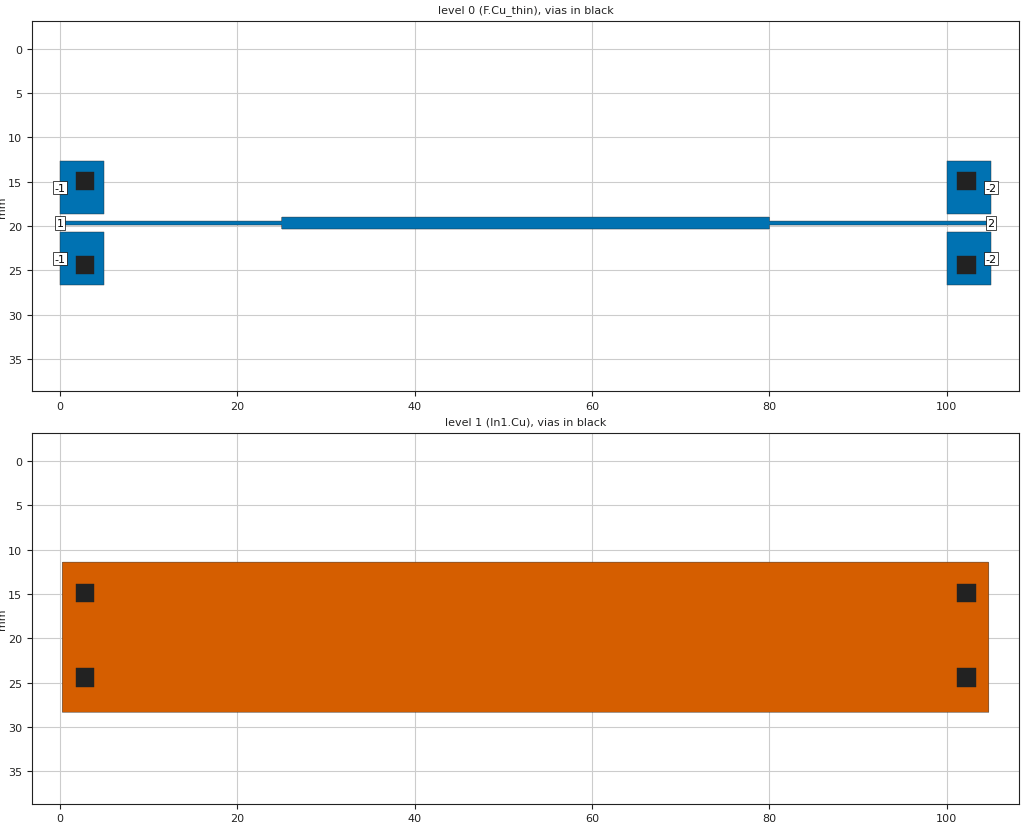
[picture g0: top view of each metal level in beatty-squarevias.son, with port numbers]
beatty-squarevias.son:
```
FTYP SONPROJ 19 ! Sonnet Project File
VER 18.56
HEADER
LIC antikernel2.1.51813
DAT 12/21/2022 18:12:39
BUILT_BY_CREATED xgeom 18.56 12/18/2022 19:56:31
BUILT_BY_SAVED sonnet 18.56
MDATE 12/21/2022 18:12:39
HDATE 12/21/2022 18:12:39
ANN Created by dxfgeo, Sonnet Software Inc.
END HEADER
DIM
ANG DEG
CAP PF
CON /OH
FREQ GHZ
IND NH
LNG MM
RES OH
END DIM
CONTROL
VARSWP
OPTIONS  -dj
SPEED 1
CACHE_ABS 2
Q_ACC N
END CONTROL
GEO
DRP1 LEFT NONE 5
DRP1 RIGHT NONE 5
TMET "Free Space" 0 FREESPACE 376.7303136 0 0 0
BMET "Free Space" 0 FREESPACE 376.7303136 0 0 0
MET "Copper_1oz+plated_thick_up" 1 TMM 58000000 0.5 0.0432 2
MET "Copper_1oz+plated_thin" 4 NOR 58000000 0.5 0.0432 
MET "Copper_0.5oz_thin" 2 NOR 58000000 0.5 0.0175 
MET "Copper_1oz+plated_thick_down" 3 TMM 58000000 0.5 0.0432 2 CDVY TDWN
BOX 4 105 35.5 8400 2840 20 0
      10 1 1 0 0 0 0 "Air"
      0.2021 3.61 1 0.0092 0 0 0 "Isola_FR408HR"
      1.1938 3.61 1 0.0092 0 0 0 "Isola_FR408HR"
      0.2021 3.61 1 0.0092 0 0 0 "Isola_FR408HR"
      10 1 1 0 0 0 0 "Air"
TECHLAY VIA Via1 L3D0 -7 -65534 CAD Via1 drawing 
VIA POLYGON
0 0 -1 N 116 1 1 100 100 0 0 0 Y
TOLEVEL 3 RING NOCOVERS
END
END
TECHLAY METAL F.Cu_thin L1D0 -2 -65534 CAD F.Cu_thin drawing 
0 0 1 N 72 1 1 100 100 0 0 0 Y
END
END
TECHLAY METAL F.Cu_thick <UNSPECIFIED> -1 -65534 CAD F.Cu drawing 
0 0 0 N 80 1 1 100 100 0 0 0 Y
END
END
TECHLAY METAL In1.Cu L2D0 -3 -65534 CAD In1.Cu drawing 
1 0 2 N 83 1 1 100 100 0 0 0 Y
END
END
TECHLAY METAL In2.Cu <UNSPECIFIED> -4 -65534 CAD In2.Cu drawing 
2 0 2 N 86 1 1 100 100 0 0 0 Y
END
END
TECHLAY METAL B.Cu_thin <UNSPECIFIED> -6 -65534 CAD B.Cu_thin drawing 
3 0 1 N 89 1 1 100 100 0 0 0 Y
END
END
TECHLAY METAL B.Cu_thick <UNSPECIFIED> -5 -65534 CAD B.Cu drawing 
3 0 3 N 91 1 1 100 100 0 0 0 Y
END
END
LORGN 0 35.5 U 
POR1 BOX
POLY 7 1
2
-2 50 0 0 0 105 23.65 
POR1 BOX
POLY 9 1
0
-1 50 0 0 0 0 15.65 
POR1 BOX
POLY 10 1
2
-2 50 0 0 0 105 15.65 
POR1 BOX
POLY 8 1
4
1 50 0 0 0 0 19.65 
POR1 BOX
POLY 8 1
14
2 50 0 0 0 105 19.65 
POR1 BOX
POLY 6 1
0
-1 50 0 0 0 0 23.65 
NUM 10
VIA POLYGON
0 5 -1 N 124 1 1 100 100 0 0 0 Y
TOLEVEL 3 RING NOCOVERS
TLAYNAM Via1 INH
1.75 13.85
3.85 13.85
3.85 15.95
1.75 15.95
1.75 13.85
END
VIA POLYGON
0 5 -1 N 126 1 1 100 100 0 0 0 Y
TOLEVEL 3 RING NOCOVERS
TLAYNAM Via1 INH
1.75 23.35
3.85 23.35
3.85 25.45
1.75 25.45
1.75 23.35
END
VIA POLYGON
0 5 -1 N 128 1 1 100 100 0 0 0 Y
TOLEVEL 3 RING NOCOVERS
TLAYNAM Via1 INH
101.15 13.85
103.25 13.85
103.25 15.95
101.15 15.95
101.15 13.85
END
VIA POLYGON
0 5 -1 N 130 1 1 100 100 0 0 0 Y
TOLEVEL 3 RING NOCOVERS
TLAYNAM Via1 INH
101.15 23.35
103.25 23.35
103.25 25.45
101.15 25.45
101.15 23.35
END
0 5 1 N 7 1 1 100 100 0 0 0 Y
TLAYNAM F.Cu_thin INH
USER_DAT FromImport
100 26.65
100 20.65
105 20.65
105 26.65
100 26.65
END
0 5 1 N 9 1 1 100 100 0 0 0 Y
TLAYNAM F.Cu_thin INH
USER_DAT FromImport
0 18.65
0 12.65
5 12.65
5 18.65
0 18.65
END
0 5 1 N 10 1 1 100 100 0 0 0 Y
TLAYNAM F.Cu_thin INH
USER_DAT FromImport
100 18.65
100 12.65
105 12.65
105 18.65
100 18.65
END
0 21 1 N 8 1 1 100 100 0 0 0 Y
TLAYNAM F.Cu_thin INH
USER_DAT FromImport
25.049 20.325
25.014 20.311
25 20.276
25 19.875
0 19.875
0 19.425
25 19.425
25 19.024
25.014 18.989
25.049 18.975
79.951 18.975
79.986 18.989
80 19.024
80 19.425
105 19.425
105 19.875
80 19.875
80 20.276
79.986 20.311
79.951 20.325
25.049 20.325
END
0 5 1 N 6 1 1 100 100 0 0 0 Y
TLAYNAM F.Cu_thin INH
USER_DAT FromImport
0 26.65
0 20.65
5 20.65
5 26.65
0 26.65
END
1 9 2 N 57 1 1 100 100 0 0 0 Y
TLAYNAM In1.Cu INH
USER_DAT FromImport
104.75 11.462
104.732 11.418
104.689 11.4
0.312 11.4
0.268 11.418
0.25 11.462
0.25 28.325
104.75 28.325
104.75 11.462
END
END GEO
OPT
MAX 100
END OPT
VARSWP
ENABLED Y
FREQ Y AN SWEEP 1.0 15.0 2.0
FREQ Y AY ABS_ENTRY 0.01 16.0 -1 300 
END
END VARSWP
3DOPTIONS
GLOBAL 1
ALL 5 1
END 3DOPTIONS
```
